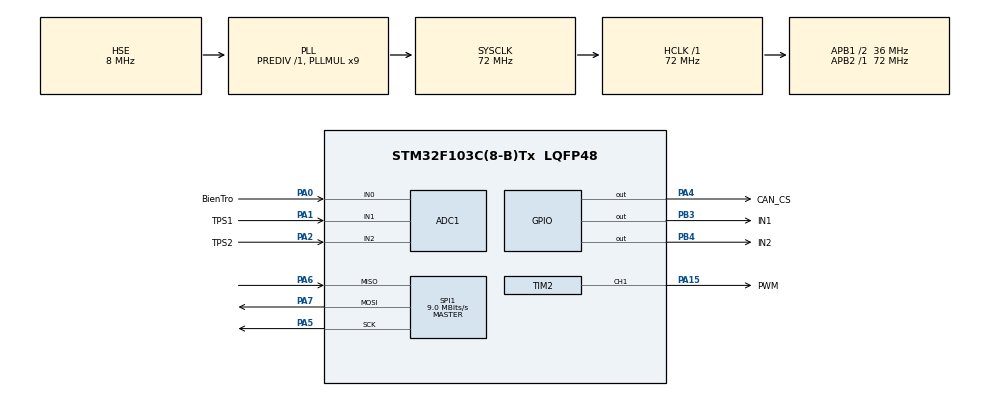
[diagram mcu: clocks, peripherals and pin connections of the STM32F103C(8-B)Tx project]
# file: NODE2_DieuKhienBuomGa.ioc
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ADC1.Channel-0\#ChannelRegularConversion=ADC_CHANNEL_2
ADC1.NbrOfConversionFlag=1
ADC1.Rank-0\#ChannelRegularConversion=1
ADC1.SamplingTime-0\#ChannelRegularConversion=ADC_SAMPLETIME_239CYCLES_5
ADC1.master=1
Mcu.Family=STM32F1
Mcu.Name=STM32F103C(8-B)Tx
Mcu.Package=LQFP48
NVIC.PriorityGroup=NVIC_PRIORITYGROUP_4
NVIC.TIM1_UP_IRQn=true\:1\:0\:true\:false\:true\:true\:true\:true
PA0-WKUP.GPIO_Label=BienTro
PA0-WKUP.Signal=ADCx_IN0
PA1.GPIO_Label=TPS1
PA1.Signal=ADCx_IN1
PA13.Mode=Serial_Wire
PA13.Signal=SYS_JTMS-SWDIO
PA14.Mode=Serial_Wire
PA14.Signal=SYS_JTCK-SWCLK
PA15.GPIO_Label=PWM
PA15.Signal=S_TIM2_CH1_ETR
PA2.GPIO_Label=TPS2
PA2.Signal=ADCx_IN2
PA4.GPIO_Label=CAN_CS
PA4.Signal=GPIO_Output
PA5.Mode=Full_Duplex_Master
PA5.Signal=SPI1_SCK
PA6.Mode=Full_Duplex_Master
PA6.Signal=SPI1_MISO
PA7.Mode=Full_Duplex_Master
PA7.Signal=SPI1_MOSI
PB3.GPIO_Label=IN1
PB3.Signal=GPIO_Output
PB4.GPIO_Label=IN2
PB4.Signal=GPIO_Output
PD0-OSC_IN.Mode=HSE-External-Oscillator
PD0-OSC_IN.Signal=RCC_OSC_IN
PD1-OSC_OUT.Mode=HSE-External-Oscillator
PD1-OSC_OUT.Signal=RCC_OSC_OUT
ProjectManager.HeapSize=0x200
ProjectManager.StackSize=0x400
ProjectManager.TargetToolchain=MDK-ARM V5.32
RCC.ADCPresc=RCC_ADCPCLK2_DIV6
RCC.AHBFreq_Value=72000000
RCC.APB1CLKDivider=RCC_HCLK_DIV2
RCC.APB1Freq_Value=36000000
RCC.APB1TimFreq_Value=72000000
RCC.APB2Freq_Value=72000000
RCC.APB2TimFreq_Value=72000000
RCC.HCLKFreq_Value=72000000
RCC.PLLMUL=RCC_PLL_MUL9
RCC.PLLSourceVirtual=RCC_PLLSOURCE_HSE
RCC.SYSCLKFreq_VALUE=72000000
RCC.SYSCLKSource=RCC_SYSCLKSOURCE_PLLCLK
RCC.USBFreq_Value=72000000
SH.ADCx_IN0.0=ADC1_IN0,IN0
SH.ADCx_IN1.0=ADC1_IN1,IN1
SH.ADCx_IN2.0=ADC1_IN2,IN2
SH.S_TIM2_CH1_ETR.0=TIM2_CH1,PWM Generation1 CH1
SPI1.BaudRatePrescaler=SPI_BAUDRATEPRESCALER_8
SPI1.CalculateBaudRate=9.0 MBits/s
SPI1.Direction=SPI_DIRECTION_2LINES
SPI1.Mode=SPI_MODE_MASTER
SPI1.VirtualType=VM_MASTER
TIM1.Period=99
TIM1.Prescaler=7199
TIM2.Channel-PWM\ Generation1\ CH1=TIM_CHANNEL_1
TIM2.Period=3599
VP_TIM1_VS_ClockSourceINT.Mode=Internal
VP_TIM2_VS_ClockSourceINT.Mode=Internal
board=custom

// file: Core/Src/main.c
/* USER CODE BEGIN Header */
/**
  ******************************************************************************
  * @file           : main.c
  * @brief          : Main program body
  ******************************************************************************
  * @attention
  *
  * Copyright (c) 2025 STMicroelectronics.
  * All rights reserved.
  *
  * This software is licensed under terms that can be found in the LICENSE file
  * in the root directory of this software component.
  * If no LICENSE file comes with this software, it is provided AS-IS.
  *
  ******************************************************************************
  */
/* USER CODE END Header */
#include "main.h"
/* USER CODE BEGIN Includes */
#include "CANSPI.h"
#include <string.h>
#include "MCP2515.h"
#include <math.h>
/* USER CODE END Includes */

ADC_HandleTypeDef hadc1;
SPI_HandleTypeDef hspi1;
TIM_HandleTypeDef htim1;
TIM_HandleTypeDef htim2;

void SystemClock_Config(void);
static void MX_GPIO_Init(void);
static void MX_ADC1_Init(void);
static void MX_TIM1_Init(void);
static void MX_TIM2_Init(void);
static void MX_SPI1_Init(void);
/* USER CODE BEGIN PFP */
//Cac bien danh gia hieu qua bo dieu khien buom ga
float static_error = 0;
float min_error = 0, overshoot = 0;
float time = 0, rise_time = 0, settling_time = 0;
uint8_t rise_time_flag = 0, settling_time_flag = 0;

//Bien doc cam bien
float tps1Raw, tps2Raw, desiredRaw;

//Thoi gian lay mau
const float sampling_time = 0.01;

//Cac bien calib cam bien TPS
uint16_t TPS1min, TPS2min, TPS1max, TPS2max ;
float TPSmin = 0.0f, TPSmax = 0.0f, old_TPSmin = 0.0f, old_TPSmax = 0.0f;

//Thong so bo dieu khien PID
float Kp = 180, Ki = 200, Kd = 0;
float setpoint, actual, error, integral, Integral, Derivative, output, old_error;
uCAN_MSG rxMessage; uCAN_MSG txMessage;

//Cac gia tri bo loc EMA
float tps1, tps2, desired, alpha = 0.7;

//Cac ham
void computePI(float setpoint, float actual);
uint16_t get_adc_channel(uint32_t channel);
void Setup_Hbridge_TPS(void);
void HAL_TIM_PeriodElapsedCallback(TIM_HandleTypeDef *htim);
void Send_Calib_Data(void);
void Evaluate_PID_controller(float setpoint, float error);

/* USER CODE END PFP */

/* USER CODE BEGIN 0 */

uint16_t get_adc_channel(uint32_t channel){//Ham doc cam bien
	uint16_t adc;
	//config channel
	ADC_ChannelConfTypeDef sConfig = {0};
	sConfig.Channel = channel;
	sConfig.Rank = ADC_REGULAR_RANK_1;
	sConfig.SamplingTime = ADC_SAMPLETIME_239CYCLES_5;
	if (HAL_ADC_ConfigChannel(&hadc1, &sConfig) != HAL_OK){
		Error_Handler();
	}
	//read adc
	HAL_ADC_Start(&hadc1);
	HAL_ADC_PollForConversion(&hadc1, 5);
	adc = HAL_ADC_GetValue(&hadc1);
	HAL_ADC_Stop(&hadc1);
	return adc;
}
void Setup_Hbridge_TPS(void){//Ham calib TPS
	//Xac dinh chieu quay buom ga
	HAL_GPIO_WritePin(GPIOB,IN1_Pin,GPIO_PIN_SET);
	HAL_GPIO_WritePin(GPIOB,IN2_Pin,GPIO_PIN_RESET);
	//Calib cam bien TPS
	HAL_TIM_PWM_Start(&htim2,TIM_CHANNEL_1);
	htim2.Instance->CCR1 = 0;//tra buom ga ve 0%
  HAL_Delay(1000);//doi buom ga ve 0%
  TPS1min = get_adc_channel(ADC_CHANNEL_1);//ghi gia tri TPS1 tai do mo min
  TPS2min = get_adc_channel(ADC_CHANNEL_2);//ghi gia tri TPS2 tai do mo min
	HAL_TIM_PWM_Start(&htim2,TIM_CHANNEL_1);
	htim2.Instance->CCR1 = 2200;//dua buom ga len 100%
	HAL_Delay(2000);//doi buom ga len 100%
  TPS1max = get_adc_channel(ADC_CHANNEL_1);//ghi gia tri TPS1 tai do mo max
  TPS2max = get_adc_channel(ADC_CHANNEL_2);//ghi gia tri TPS2 tai do mo max
	HAL_TIM_PWM_Start(&htim2,TIM_CHANNEL_1);
	htim2.Instance->CCR1 = 0;//tra buom ga ve 0%
	HAL_Delay(1000);//doi buom ga ve 0%
  TPSmin = TPS1min - TPS2min;
  TPSmax = TPS1max - TPS2max;
}
void Send_Calib_Data(void){//Ham gui gia tri calib len CAN
		//CAN FRAME GUI TPSmin VA TPSmax (1 lan)
		txMessage.frame.id = 0x110;
		txMessage.frame.dlc = 8;
    memcpy(&txMessage.frame.data0, &TPSmin, sizeof(float));
    memcpy(&txMessage.frame.data4, &TPSmax, sizeof(float));
		CANSPI_Transmit(&txMessage);
}
void Evaluate_PID_controller(float setpoint, float error){//Ham phu danh gia thong so hoat dong bo dieu khien PID
	static_error = fabsf(error)*0.05 + (1-0.05)*static_error;//Tinh sai so tinh
	if (error < min_error){min_error = error;}//Xac dinh sai so o dinh vot lo (overshooting-peak error)
	overshoot = fabsf(min_error)/setpoint;//Tinh do vot lo
  if (setpoint == 0){min_error = time = rise_time = settling_time = overshoot = 0; rise_time_flag = settling_time_flag = 0;}//reset cac thong so danh gia khi buom ga ve 0
	if (setpoint!=0){time += 0.01;}//Dem thoi gian moi chu ky lay mau
	if (old_error*error<0 && rise_time_flag == 0 &&actual>5){rise_time = time; rise_time_flag = 1;}//Xac dinh buom ga da dat setpoint khi sai so doi dau, bat co de xac dinh da co gia tri
	if (static_error<=1 && rise_time_flag == 1 && settling_time_flag == 0){settling_time = time; settling_time_flag = 1;}//Xac dinh buom ga da dat trang thai tinh, bat co de xac dinh da co gia tri
}
void computePI(float setpoint, float actual){//Ham tinh toan bo dieu khien PI
  error = setpoint - actual;
	Evaluate_PID_controller(setpoint, error);//danh gia bo dieu khien
  integral += error*sampling_time;//tinh thanh phan tich phan
  if (setpoint == 0) integral = 0;	//tranh hien tuong bao hoa tich phan khi calib khong chuan (khi do mo = 0 nhung actual khac 0), khien tich phan sai so tang cao
  Integral = Ki * integral;
  if (Integral<0){Integral = 0;}
	if (Integral>1450){Integral = 1450;} //tranh hien tuong bao hoa tich phan
	Derivative = Kd*(error - old_error)/sampling_time;//tinh thanh phan dao ham
  output = Kp * error + Integral + Derivative;//output cua thuat toan PID
  if (output<0){output = 0;}
	if (output>3599){output = 3599;}//tranh output vuot qua PWM cho phep (tu 0 den 3599)
  if (setpoint == 0) output = 0;	//tat dien ap khi buom ga o trang thai nghi
  HAL_TIM_PWM_Start(&htim2,TIM_CHANNEL_1);
	htim2.Instance->CCR1 = output;//xuat PWM
	old_error = error;//cap nhat bien old_error
}
void HAL_TIM_PeriodElapsedCallback(TIM_HandleTypeDef *htim){//ham ngat timer 1 10ms
	if (htim->Instance == htim1.Instance){
    //Loc EMA
    tps1 = tps1Raw*alpha + (1-alpha)*tps1;
    tps2 = tps2Raw*alpha + (1-alpha)*tps2;
		//Tinh do mo thuc te
    actual = ((tps1 - tps2)-TPSmin)*100/(TPSmax - TPSmin);
		if (actual<0){actual = 0;}
		if (actual>100){actual = 100;}
		//Tinh toan PID
    computePI(setpoint, actual);
		HAL_TIM_Base_Start_IT(&htim1);//tai kich hoat ngat timer
	}
}

/* USER CODE END 0 */

 int main(void)
{

  /* MCU Configuration--------------------------------------------------------*/

  /* Reset of all peripherals, Initializes the Flash interface and the Systick. */
  HAL_Init();

  /* Configure the system clock */
  SystemClock_Config();

  /* Initialize all configured peripherals */
  MX_GPIO_Init();
  MX_ADC1_Init();
  MX_TIM1_Init();
  MX_TIM2_Init();
  MX_SPI1_Init();
  /* USER CODE BEGIN 2 */
  HAL_ADCEx_Calibration_Start(&hadc1);
	MCP2515_Reset();
  CANSPI_Initialize();

  /* USER CODE END 2 */

  /* Infinite loop */
  /* USER CODE BEGIN WHILE */
	//Xac dinh chieu quay motor và calib TPS
	Setup_Hbridge_TPS();//Xac dinh chieu quay motor và calib TPS
  Send_Calib_Data();//Gui gia tri calib len CAN
	HAL_TIM_Base_Start_IT(&htim1);//Bat ngat timer1 (10ms)
  while (1)
  {
	//Nhan CAN
  if (CANSPI_Receive(&rxMessage))
  {
    switch (rxMessage.frame.id)
    {
      case 0x111: // Nhan Kp, Ki
        if (rxMessage.frame.dlc == 8)
        {
          memcpy(&Kp, &rxMessage.frame.data0, sizeof(float));
          memcpy(&Ki, &rxMessage.frame.data4, sizeof(float));
        }
        break;

      case 0x112: // Nhan setpoint
        if (rxMessage.frame.dlc == 4)
        {
          memcpy(&setpoint, &rxMessage.frame.data0, sizeof(float));
					  if (setpoint<0){setpoint = 0;}
						if (setpoint>100){setpoint = 100;}
        }
        break;

      case 0x115: // Nhan TPS1, TPS2
        if (rxMessage.frame.dlc == 8)
        {
          memcpy(&tps1Raw, &rxMessage.frame.data0, sizeof(float));
          memcpy(&tps2Raw, &rxMessage.frame.data4, sizeof(float));
        }
        break;

      case 0x116: // Nhan alpha
        if (rxMessage.frame.dlc == 4)
        {
          memcpy(&alpha, &rxMessage.frame.data0, sizeof(float));
        }
        break;

      default:
        // Không xu ly frame l
        break;

    }
  }
    /* USER CODE END WHILE */

  }
}

void SystemClock_Config(void)
{
  RCC_OscInitTypeDef RCC_OscInitStruct = {0};
  RCC_ClkInitTypeDef RCC_ClkInitStruct = {0};
  RCC_PeriphCLKInitTypeDef PeriphClkInit = {0};

  /** Initializes the RCC Oscillators according to the specified parameters
  * in the RCC_OscInitTypeDef structure.
  */
  RCC_OscInitStruct.OscillatorType = RCC_OSCILLATORTYPE_HSE;
  RCC_OscInitStruct.HSEState = RCC_HSE_ON;
  RCC_OscInitStruct.HSEPredivValue = RCC_HSE_PREDIV_DIV1;
  RCC_OscInitStruct.HSIState = RCC_HSI_ON;
  RCC_OscInitStruct.PLL.PLLState = RCC_PLL_ON;
  RCC_OscInitStruct.PLL.PLLSource = RCC_PLLSOURCE_HSE;
  RCC_OscInitStruct.PLL.PLLMUL = RCC_PLL_MUL9;
  if (HAL_RCC_OscConfig(&RCC_OscInitStruct) != HAL_OK)
  {
    Error_Handler();
  }

  /** Initializes the CPU, AHB and APB buses clocks
  */
  RCC_ClkInitStruct.ClockType = RCC_CLOCKTYPE_HCLK|RCC_CLOCKTYPE_SYSCLK
                              |RCC_CLOCKTYPE_PCLK1|RCC_CLOCKTYPE_PCLK2;
  RCC_ClkInitStruct.SYSCLKSource = RCC_SYSCLKSOURCE_PLLCLK;
  RCC_ClkInitStruct.AHBCLKDivider = RCC_SYSCLK_DIV1;
  RCC_ClkInitStruct.APB1CLKDivider = RCC_HCLK_DIV2;
  RCC_ClkInitStruct.APB2CLKDivider = RCC_HCLK_DIV1;

  if (HAL_RCC_ClockConfig(&RCC_ClkInitStruct, FLASH_LATENCY_2) != HAL_OK)
  {
    Error_Handler();
  }
  PeriphClkInit.PeriphClockSelection = RCC_PERIPHCLK_ADC;
  PeriphClkInit.AdcClockSelection = RCC_ADCPCLK2_DIV6;
  if (HAL_RCCEx_PeriphCLKConfig(&PeriphClkInit) != HAL_OK)
  {
    Error_Handler();
  }
}

static void MX_ADC1_Init(void)
{

  ADC_ChannelConfTypeDef sConfig = {0};

  /** Common config
  */
  hadc1.Instance = ADC1;
  hadc1.Init.ScanConvMode = ADC_SCAN_DISABLE;
  hadc1.Init.ContinuousConvMode = DISABLE;
  hadc1.Init.DiscontinuousConvMode = DISABLE;
  hadc1.Init.ExternalTrigConv = ADC_SOFTWARE_START;
  hadc1.Init.DataAlign = ADC_DATAALIGN_RIGHT;
  hadc1.Init.NbrOfConversion = 1;
  if (HAL_ADC_Init(&hadc1) != HAL_OK)
  {
    Error_Handler();
  }

  /** Configure Regular Channel
  */
  sConfig.Channel = ADC_CHANNEL_2;
  sConfig.Rank = ADC_REGULAR_RANK_1;
  sConfig.SamplingTime = ADC_SAMPLETIME_239CYCLES_5;
  if (HAL_ADC_ConfigChannel(&hadc1, &sConfig) != HAL_OK)
  {
    Error_Handler();
  }

}

static void MX_SPI1_Init(void)
{

  /* SPI1 parameter configuration*/
  hspi1.Instance = SPI1;
  hspi1.Init.Mode = SPI_MODE_MASTER;
  hspi1.Init.Direction = SPI_DIRECTION_2LINES;
  hspi1.Init.DataSize = SPI_DATASIZE_8BIT;
  hspi1.Init.CLKPolarity = SPI_POLARITY_LOW;
  hspi1.Init.CLKPhase = SPI_PHASE_1EDGE;
  hspi1.Init.NSS = SPI_NSS_SOFT;
  hspi1.Init.BaudRatePrescaler = SPI_BAUDRATEPRESCALER_8;
  hspi1.Init.FirstBit = SPI_FIRSTBIT_MSB;
  hspi1.Init.TIMode = SPI_TIMODE_DISABLE;
  hspi1.Init.CRCCalculation = SPI_CRCCALCULATION_DISABLE;
  hspi1.Init.CRCPolynomial = 10;
  if (HAL_SPI_Init(&hspi1) != HAL_OK)
  {
    Error_Handler();
  }

}

static void MX_TIM1_Init(void)
{

  TIM_ClockConfigTypeDef sClockSourceConfig = {0};
  TIM_MasterConfigTypeDef sMasterConfig = {0};

  htim1.Instance = TIM1;
  htim1.Init.Prescaler = 7199;
  htim1.Init.CounterMode = TIM_COUNTERMODE_UP;
  htim1.Init.Period = 99;
  htim1.Init.ClockDivision = TIM_CLOCKDIVISION_DIV1;
  htim1.Init.RepetitionCounter = 0;
  htim1.Init.AutoReloadPreload = TIM_AUTORELOAD_PRELOAD_DISABLE;
  if (HAL_TIM_Base_Init(&htim1) != HAL_OK)
  {
    Error_Handler();
  }
  sClockSourceConfig.ClockSource = TIM_CLOCKSOURCE_INTERNAL;
  if (HAL_TIM_ConfigClockSource(&htim1, &sClockSourceConfig) != HAL_OK)
  {
    Error_Handler();
  }
  sMasterConfig.MasterOutputTrigger = TIM_TRGO_RESET;
  sMasterConfig.MasterSlaveMode = TIM_MASTERSLAVEMODE_DISABLE;
  if (HAL_TIMEx_MasterConfigSynchronization(&htim1, &sMasterConfig) != HAL_OK)
  {
    Error_Handler();
  }

}

static void MX_TIM2_Init(void)
{

  TIM_ClockConfigTypeDef sClockSourceConfig = {0};
  TIM_MasterConfigTypeDef sMasterConfig = {0};
  TIM_OC_InitTypeDef sConfigOC = {0};

  htim2.Instance = TIM2;
  htim2.Init.Prescaler = 0;
  htim2.Init.CounterMode = TIM_COUNTERMODE_UP;
  htim2.Init.Period = 3599;
  htim2.Init.ClockDivision = TIM_CLOCKDIVISION_DIV1;
  htim2.Init.AutoReloadPreload = TIM_AUTORELOAD_PRELOAD_DISABLE;
  if (HAL_TIM_Base_Init(&htim2) != HAL_OK)
  {
    Error_Handler();
  }
  sClockSourceConfig.ClockSource = TIM_CLOCKSOURCE_INTERNAL;
  if (HAL_TIM_ConfigClockSource(&htim2, &sClockSourceConfig) != HAL_OK)
  {
    Error_Handler();
  }
  if (HAL_TIM_PWM_Init(&htim2) != HAL_OK)
  {
    Error_Handler();
  }
  sMasterConfig.MasterOutputTrigger = TIM_TRGO_RESET;
  sMasterConfig.MasterSlaveMode = TIM_MASTERSLAVEMODE_DISABLE;
  if (HAL_TIMEx_MasterConfigSynchronization(&htim2, &sMasterConfig) != HAL_OK)
  {
    Error_Handler();
  }
  sConfigOC.OCMode = TIM_OCMODE_PWM1;
  sConfigOC.Pulse = 0;
  sConfigOC.OCPolarity = TIM_OCPOLARITY_HIGH;
  sConfigOC.OCFastMode = TIM_OCFAST_DISABLE;
  if (HAL_TIM_PWM_ConfigChannel(&htim2, &sConfigOC, TIM_CHANNEL_1) != HAL_OK)
  {
    Error_Handler();
  }
  HAL_TIM_MspPostInit(&htim2);

}

static void MX_GPIO_Init(void)
{
  GPIO_InitTypeDef GPIO_InitStruct = {0};

  /* GPIO Ports Clock Enable */
  __HAL_RCC_GPIOD_CLK_ENABLE();
  __HAL_RCC_GPIOA_CLK_ENABLE();
  __HAL_RCC_GPIOB_CLK_ENABLE();

  /*Configure GPIO pin Output Level */
  HAL_GPIO_WritePin(CAN_CS_GPIO_Port, CAN_CS_Pin, GPIO_PIN_RESET);

  /*Configure GPIO pin Output Level */
  HAL_GPIO_WritePin(GPIOB, IN1_Pin|IN2_Pin, GPIO_PIN_RESET);

  /*Configure GPIO pin : CAN_CS_Pin */
  GPIO_InitStruct.Pin = CAN_CS_Pin;
  GPIO_InitStruct.Mode = GPIO_MODE_OUTPUT_PP;
  GPIO_InitStruct.Pull = GPIO_NOPULL;
  GPIO_InitStruct.Speed = GPIO_SPEED_FREQ_LOW;
  HAL_GPIO_Init(CAN_CS_GPIO_Port, &GPIO_InitStruct);

  /*Configure GPIO pins : IN1_Pin IN2_Pin */
  GPIO_InitStruct.Pin = IN1_Pin|IN2_Pin;
  GPIO_InitStruct.Mode = GPIO_MODE_OUTPUT_PP;
  GPIO_InitStruct.Pull = GPIO_NOPULL;
  GPIO_InitStruct.Speed = GPIO_SPEED_FREQ_LOW;
  HAL_GPIO_Init(GPIOB, &GPIO_InitStruct);

}

void Error_Handler(void)
{
  __disable_irq();
  while (1)
  {
  }
}
